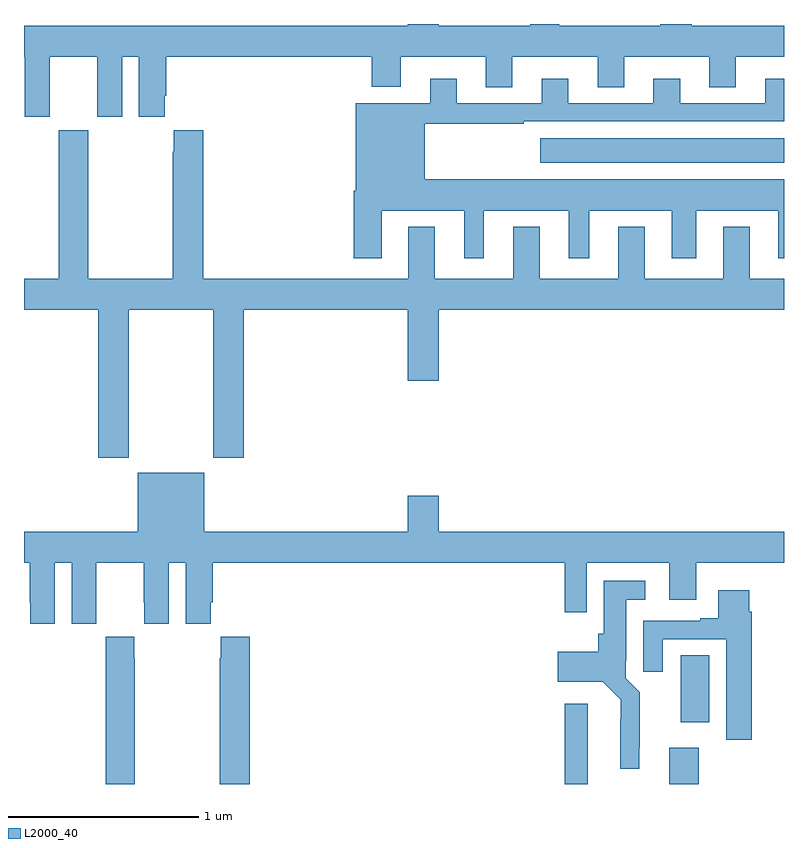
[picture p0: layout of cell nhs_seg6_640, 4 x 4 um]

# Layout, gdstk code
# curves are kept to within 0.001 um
import gdstk
lib = gdstk.Library(unit=1e-6, precision=1e-09)
def R(c, l, rs):  # rectangles x0, y0, x1, y1
    for r in rs: c.add(gdstk.rectangle(r[:2], r[2:], *l))
def P(c, l, *ps):  # polygons
    for p in ps: c.add(gdstk.Polygon(p, *l))
L2000_40 = (2000, 40)

nhs_seg6_640 = lib.new_cell('nhs_seg6_640')
R(nhs_seg6_640, L2000_40, [(153.845,951.5,153.967,951.922), (154.397,951.5,154.55,951.691), (154.457,951.825,154.606,952.178), (153.717,954.77,155,954.898)])
P(nhs_seg6_640, L2000_40, [(151.135,955.328),(151.385,955.328),(151.385,955.011),(151.516,955.011),(151.516,955.328),(151.604,955.328),(151.604,955.011),(151.741,955.011),(151.741,955.123),(151.748,955.123),(151.748,955.328),(152.831,955.328),(152.831,955.169),(152.983,955.169),(152.983,955.328),(153.431,955.328),(153.431,955.168),(153.571,955.168),(153.571,955.328),(154.019,955.328),(154.019,955.168),(154.159,955.168),(154.159,955.328),(154.607,955.328),(154.607,955.168),(154.747,955.168),(154.747,955.328),(155,955.328),(155,955.492),(154.514,955.492),(154.514,955.5),(154.349,955.5),(154.349,955.492),(153.818,955.492),(153.818,955.5),(153.665,955.5),(153.665,955.492),(153.184,955.492),(153.184,955.5),(153.02,955.5),(153.02,955.492),(151,955.492),(151,955.328),(151.004,955.328),(151.004,955.011),(151.135,955.011)],
  [(152.884,954.518),(153.317,954.518),(153.317,954.267),(153.421,954.267),(153.421,954.518),(153.866,954.518),(153.866,954.267),(153.976,954.267),(153.976,954.518),(154.409,954.518),(154.409,954.267),(154.537,954.267),(154.537,954.518),(154.97,954.518),(154.97,954.267),(155,954.267),(155,954.682),(153.109,954.682),(153.109,954.975),(153.629,954.975),(153.629,954.987),(155,954.987),(155,955.213),(154.901,955.213),(154.901,955.083),(154.453,955.083),(154.453,955.213),(154.313,955.213),(154.313,955.083),(153.865,955.083),(153.865,955.213),(153.725,955.213),(153.725,955.083),(153.277,955.083),(153.277,955.213),(153.137,955.213),(153.137,955.084),(152.747,955.084),(152.747,954.622),(152.735,954.622),(152.735,954.267),(152.884,954.267)],
  [(151.183,954.94),(151.183,954.16),(151,954.16),(151,953.996),(151.391,953.996),(151.391,953.217),(151.551,953.217),(151.551,953.996),(151.996,953.996),(151.996,953.217),(152.156,953.217),(152.156,953.996),(153.02,953.996),(153.02,953.622),(153.184,953.622),(153.184,953.996),(155,953.996),(155,954.16),(154.819,954.16),(154.819,954.433),(154.679,954.433),(154.679,954.16),(154.267,954.16),(154.267,954.433),(154.127,954.433),(154.127,954.16),(153.715,954.16),(153.715,954.433),(153.575,954.433),(153.575,954.16),(153.163,954.16),(153.163,954.433),(153.023,954.433),(153.023,954.16),(151.943,954.16),(151.943,954.94),(151.787,954.94),(151.787,954.827),(151.783,954.827),(151.783,954.16),(151.338,954.16),(151.338,954.94)],
  [(151.162,952.664),(151.25,952.664),(151.25,952.344),(151.38,952.344),(151.38,952.456),(151.381,952.456),(151.381,952.664),(151.631,952.664),(151.631,952.456),(151.632,952.456),(151.632,952.344),(151.762,952.344),(151.762,952.664),(151.85,952.664),(151.85,952.344),(151.984,952.344),(151.984,952.456),(151.994,952.456),(151.994,952.664),(153.847,952.664),(153.847,952.404),(153.963,952.404),(153.963,952.664),(154.397,952.664),(154.397,952.47),(154.537,952.47),(154.537,952.664),(155,952.664),(155,952.828),(153.184,952.828),(153.184,953.017),(153.02,953.017),(153.02,952.828),(151.948,952.828),(151.948,953.137),(151.598,953.137),(151.598,952.828),(151,952.828),(151,952.664),(151.031,952.664),(151.031,952.456),(151.032,952.456),(151.032,952.344),(151.162,952.344)],
  [(154.237,951.691),(154.241,951.691),(154.241,951.982),(154.167,952.056),(154.167,952.15),(154.171,952.15),(154.171,952.469),(154.27,952.469),(154.27,952.57),(154.052,952.57),(154.052,952.29),(154.022,952.29),(154.022,952.195),(153.81,952.195),(153.81,952.037),(154.047,952.037),(154.14,951.944),(154.139,951.581),(154.237,951.581)],
  [(154.829,952.406),(154.816,952.406),(154.816,952.519),(154.655,952.519),(154.655,952.372),(154.559,952.372),(154.559,952.359),(154.259,952.359),(154.259,952.092),(154.363,952.092),(154.363,952.263),(154.697,952.263),(154.697,951.732),(154.829,951.732)],
  [(152.189,952.276),(152.035,952.276),(152.035,952.163),(152.029,952.163),(152.029,951.5),(152.189,951.5)],
  [(151.584,952.163),(151.581,952.163),(151.581,952.276),(151.431,952.276),(151.431,952.163),(151.429,952.163),(151.429,951.5),(151.584,951.5)])

lib.write_gds('nhs_seg6_640.gds')
